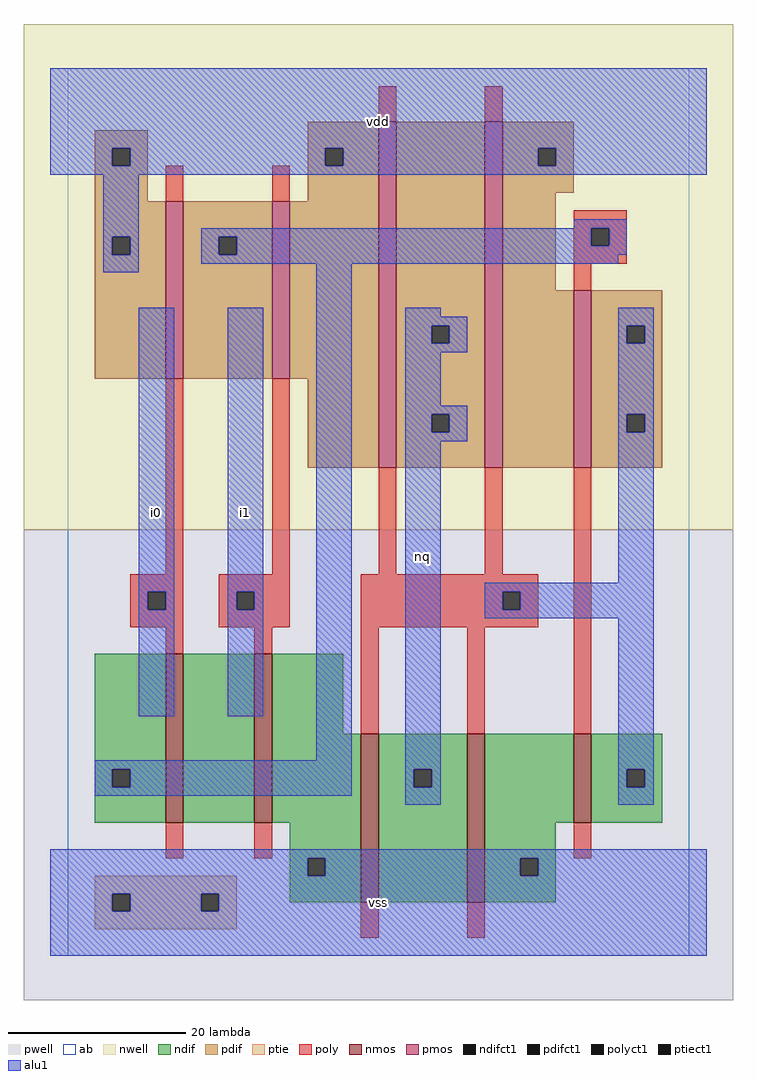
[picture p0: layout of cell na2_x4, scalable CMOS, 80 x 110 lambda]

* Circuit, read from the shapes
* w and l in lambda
.subckt na2_x4 i0 i1 nq vdd vss
M1 n1 i0 n2 vss nfet w=19 l=2
M2 vss i1 n1 vss nfet w=19 l=2
M3 nq n3 vss vss nfet w=19 l=2 m=2
M4 n3 n2 vss vss nfet w=10 l=2
M5 n2 i0 vdd n4 pfet w=20 l=2
M6 vdd i1 n2 n4 pfet w=20 l=2
M7 nq n3 vdd n4 pfet w=39 l=2 m=2
M8 n3 n2 vdd n4 pfet w=20 l=2
.ends

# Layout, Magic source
magic
tech scmos
<< ab >>
rect 0 0 70 100
<< nwell >>
rect -5 48 75 105
<< pwell >>
rect -5 -5 75 48
<< poly >>
rect 35 94 37 98
rect 47 94 49 98
rect 11 85 13 89
rect 23 85 25 89
rect 11 43 13 65
rect 23 43 25 65
rect 57 82 63 84
rect 57 80 59 82
rect 61 80 63 82
rect 57 78 63 80
rect 57 75 59 78
rect 35 43 37 55
rect 47 43 49 55
rect 7 41 13 43
rect 7 39 9 41
rect 11 39 13 41
rect 7 37 13 39
rect 17 41 25 43
rect 17 39 19 41
rect 21 39 25 41
rect 17 37 25 39
rect 33 41 53 43
rect 33 39 49 41
rect 51 39 53 41
rect 33 37 53 39
rect 11 34 13 37
rect 21 34 23 37
rect 33 25 35 37
rect 45 25 47 37
rect 57 25 59 55
rect 11 11 13 15
rect 21 11 23 15
rect 57 11 59 15
rect 33 2 35 6
rect 45 2 47 6
<< ndif >>
rect 3 21 11 34
rect 3 19 5 21
rect 7 19 11 21
rect 3 15 11 19
rect 13 15 21 34
rect 23 25 31 34
rect 23 15 33 25
rect 25 11 33 15
rect 25 9 27 11
rect 29 9 33 11
rect 25 6 33 9
rect 35 21 45 25
rect 35 19 39 21
rect 41 19 45 21
rect 35 6 45 19
rect 47 15 57 25
rect 59 21 67 25
rect 59 19 63 21
rect 65 19 67 21
rect 59 15 67 19
rect 47 11 55 15
rect 47 9 51 11
rect 53 9 55 11
rect 47 6 55 9
<< pdif >>
rect 3 91 9 93
rect 3 89 5 91
rect 7 89 9 91
rect 27 91 35 94
rect 27 89 29 91
rect 31 89 35 91
rect 3 85 9 89
rect 27 85 35 89
rect 3 81 11 85
rect 3 79 5 81
rect 7 79 11 81
rect 3 65 11 79
rect 13 81 23 85
rect 13 79 17 81
rect 19 79 23 81
rect 13 65 23 79
rect 25 65 35 85
rect 27 55 35 65
rect 37 71 47 94
rect 37 69 41 71
rect 43 69 47 71
rect 37 61 47 69
rect 37 59 41 61
rect 43 59 47 61
rect 37 55 47 59
rect 49 91 57 94
rect 49 89 53 91
rect 55 89 57 91
rect 49 86 57 89
rect 49 75 55 86
rect 49 55 57 75
rect 59 71 67 75
rect 59 69 63 71
rect 65 69 67 71
rect 59 61 67 69
rect 59 59 63 61
rect 65 59 67 61
rect 59 55 67 59
<< alu1 >>
rect -2 91 72 100
rect -2 89 5 91
rect 7 89 29 91
rect 31 89 53 91
rect 55 89 72 91
rect -2 88 72 89
rect 4 81 8 88
rect 57 82 63 83
rect 4 79 5 81
rect 7 79 8 81
rect 4 77 8 79
rect 15 81 59 82
rect 15 79 17 81
rect 19 80 59 81
rect 61 80 63 82
rect 19 79 63 80
rect 15 78 62 79
rect 8 41 12 73
rect 8 39 9 41
rect 11 39 12 41
rect 8 27 12 39
rect 18 41 22 73
rect 18 39 19 41
rect 21 39 22 41
rect 18 27 22 39
rect 28 22 32 78
rect 3 21 32 22
rect 3 19 5 21
rect 7 19 32 21
rect 3 18 32 19
rect 38 72 42 73
rect 38 71 45 72
rect 38 69 41 71
rect 43 69 45 71
rect 38 68 45 69
rect 62 71 66 73
rect 62 69 63 71
rect 65 69 66 71
rect 38 62 42 68
rect 38 61 45 62
rect 38 59 41 61
rect 43 59 45 61
rect 38 58 45 59
rect 62 61 66 69
rect 62 59 63 61
rect 65 59 66 61
rect 38 21 42 58
rect 62 42 66 59
rect 47 41 66 42
rect 47 39 49 41
rect 51 39 66 41
rect 47 38 66 39
rect 38 19 39 21
rect 41 19 42 21
rect 38 17 42 19
rect 62 21 66 38
rect 62 19 63 21
rect 65 19 66 21
rect 62 17 66 19
rect -2 11 72 12
rect -2 9 27 11
rect 29 9 51 11
rect 53 9 72 11
rect -2 7 72 9
rect -2 5 5 7
rect 7 5 15 7
rect 17 5 72 7
rect -2 0 72 5
<< ptie >>
rect 3 7 19 9
rect 3 5 5 7
rect 7 5 15 7
rect 17 5 19 7
rect 3 3 19 5
<< nmos >>
rect 11 15 13 34
rect 21 15 23 34
rect 33 6 35 25
rect 45 6 47 25
rect 57 15 59 25
<< pmos >>
rect 11 65 13 85
rect 23 65 25 85
rect 35 55 37 94
rect 47 55 49 94
rect 57 55 59 75
<< polyct1 >>
rect 59 80 61 82
rect 9 39 11 41
rect 19 39 21 41
rect 49 39 51 41
<< ndifct1 >>
rect 5 19 7 21
rect 27 9 29 11
rect 39 19 41 21
rect 63 19 65 21
rect 51 9 53 11
<< ptiect1 >>
rect 5 5 7 7
rect 15 5 17 7
<< pdifct1 >>
rect 5 89 7 91
rect 29 89 31 91
rect 5 79 7 81
rect 17 79 19 81
rect 41 69 43 71
rect 41 59 43 61
rect 53 89 55 91
rect 63 69 65 71
rect 63 59 65 61
<< labels >>
rlabel alu1 10 50 10 50 6 i0
rlabel alu1 20 50 20 50 6 i1
rlabel alu1 35 6 35 6 6 vss
rlabel alu1 40 45 40 45 6 nq
rlabel alu1 35 94 35 94 6 vdd
<< end >>
